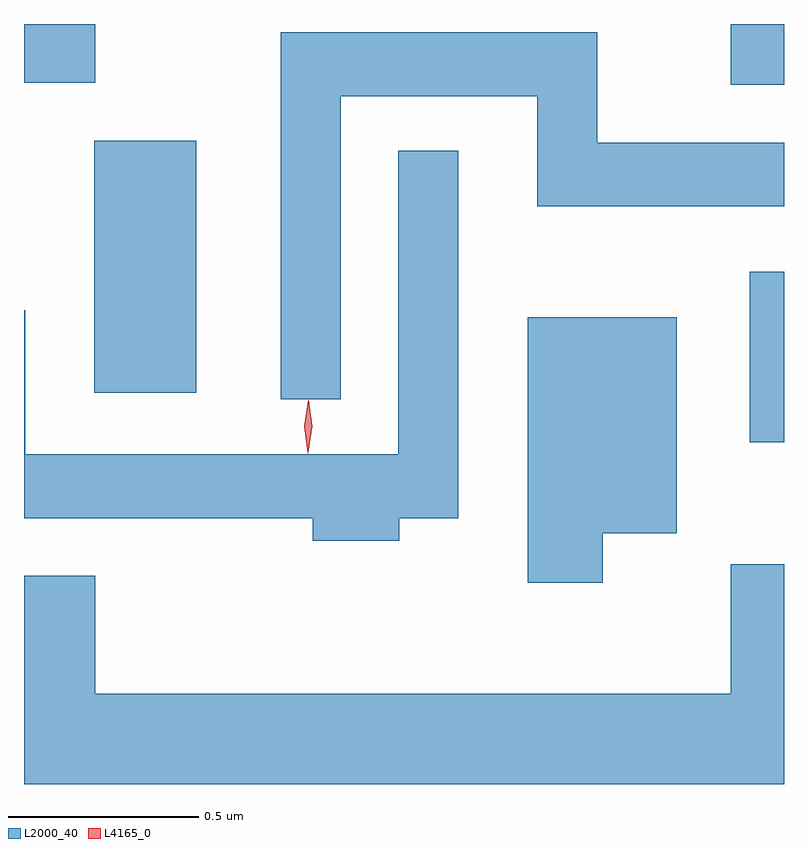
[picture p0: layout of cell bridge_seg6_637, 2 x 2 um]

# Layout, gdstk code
import gdstk
lib = gdstk.Library(unit=1e-6, precision=1e-09)
def R(c, l, rs):  # rectangles x0, y0, x1, y1
    for r in rs: c.add(gdstk.rectangle(r[:2], r[2:], *l))
def P(c, l, *ps):  # polygons
    for p in ps: c.add(gdstk.Polygon(p, *l))
L2000_40 = (2000, 40)
L4165_0 = (4165, 0)

bridge_seg6_637 = lib.new_cell('bridge_seg6_637')
R(bridge_seg6_637, L2000_40, [(545.551,1615.346,545.641,1615.794), (543.826,1615.476,544.094,1616.139), (545.501,1616.286,545.641,1616.446), (543.641,1616.291,543.829,1616.446)])
P(bridge_seg6_637, L2000_40, [(544.474,1616.256),(544.991,1616.256),(544.991,1615.966),(545.641,1615.966),(545.641,1616.134),(545.149,1616.134),(545.149,1616.424),(544.316,1616.424),(544.316,1615.458),(544.474,1615.458)],
  [(544.629,1615.146),(544.784,1615.146),(544.784,1616.113),(544.626,1616.113),(544.626,1615.314),(543.644,1615.314),(543.644,1615.693),(543.641,1615.693),(543.641,1615.146),(544.401,1615.146),(544.401,1615.086),(544.629,1615.086)],
  [(545.164,1615.106),(545.359,1615.106),(545.359,1615.674),(544.966,1615.674),(544.966,1614.976),(545.164,1614.976)],
  [(545.641,1615.024),(545.501,1615.024),(545.501,1614.684),(543.829,1614.684),(543.829,1614.994),(543.641,1614.994),(543.641,1614.446),(545.641,1614.446)])
P(bridge_seg6_637, L4165_0, [(544.389,1615.317),(544.388,1615.318),(544.379,1615.387),(544.389,1615.456),(544.389,1615.456),(544.39,1615.456),(544.399,1615.387),(544.389,1615.318)])

lib.write_gds('bridge_seg6_637.gds')
